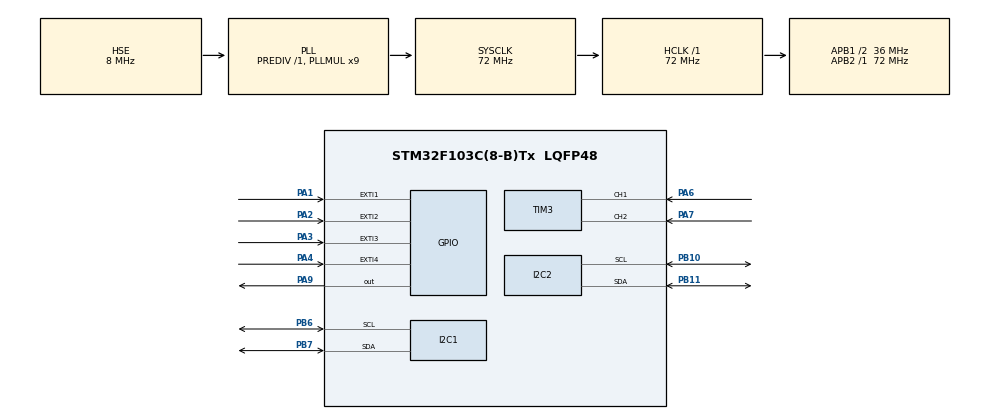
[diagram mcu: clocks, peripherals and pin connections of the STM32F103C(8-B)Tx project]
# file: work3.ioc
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FREERTOS.Events01=ConsoleEvent,Dynamic,NULL;OperateEvent,Dynamic,NULL
FREERTOS.INCLUDE_xEventGroupSetBitFromISR=1
FREERTOS.Tasks01=ConsoleTask,32,128,StartConsoleTask,Default,NULL,Dynamic,NULL,NULL;SinTask,24,256,StartSinTask,Default,NULL,Dynamic,NULL,NULL;MenuTask,24,128,StartMenuTask,Default,NULL,Dynamic,NULL,NULL;SquareTask,24,256,StartSquareTask,Default,NULL,Dynamic,NULL,NULL;RampTask,24,256,StartRampTask,Default,NULL,Dynamic,NULL,NULL;TriangleTask,24,256,StartTriangleTask,Default,NULL,Dynamic,NULL,NULL;TrapezoidTask,24,256,StartTrapezoidTask,Default,NULL,Dynamic,NULL,NULL
FREERTOS.Timers01=KonbTimer,KonbCallback,osTimerPeriodic,Default,NULL,Dynamic,NULL
FREERTOS.configLIBRARY_MAX_SYSCALL_INTERRUPT_PRIORITY=4
FREERTOS.configTOTAL_HEAP_SIZE=10240
FREERTOS.configUSE_TASK_NOTIFICATIONS=1
I2C1.I2C_Mode=I2C_Fast
I2C2.I2C_Mode=I2C_Fast
Mcu.Family=STM32F1
Mcu.Name=STM32F103C(8-B)Tx
Mcu.Package=LQFP48
NVIC.EXTI1_IRQn=true\:6\:0\:true\:false\:true\:true\:true\:true\:true
NVIC.EXTI2_IRQn=true\:6\:0\:true\:false\:true\:true\:true\:true\:true
NVIC.EXTI3_IRQn=true\:6\:0\:true\:false\:true\:true\:true\:true\:true
NVIC.EXTI4_IRQn=true\:6\:0\:true\:false\:true\:true\:true\:true\:true
NVIC.PriorityGroup=NVIC_PRIORITYGROUP_4
NVIC.TIM1_UP_IRQn=true\:4\:0\:true\:false\:true\:true\:true\:true\:true
NVIC.TIM4_IRQn=true\:15\:0\:false\:false\:true\:false\:false\:true\:true
NVIC.TimeBase=TIM4_IRQn
NVIC.TimeBaseIP=TIM4
PA1.GPIO_ModeDefaultEXTI=GPIO_MODE_IT_RISING
PA1.GPIO_PuPd=GPIO_PULLDOWN
PA1.Signal=GPXTI1
PA13.Mode=Serial_Wire
PA13.Signal=SYS_JTMS-SWDIO
PA14.Mode=Serial_Wire
PA14.Signal=SYS_JTCK-SWCLK
PA2.GPIO_ModeDefaultEXTI=GPIO_MODE_IT_RISING
PA2.GPIO_PuPd=GPIO_PULLDOWN
PA2.Signal=GPXTI2
PA3.GPIO_ModeDefaultEXTI=GPIO_MODE_IT_RISING
PA3.GPIO_PuPd=GPIO_PULLDOWN
PA3.Signal=GPXTI3
PA4.GPIO_ModeDefaultEXTI=GPIO_MODE_IT_RISING
PA4.GPIO_PuPd=GPIO_PULLDOWN
PA4.Signal=GPXTI4
PA6.Signal=S_TIM3_CH1
PA7.Signal=S_TIM3_CH2
PA9.Signal=GPIO_Output
PB10.Mode=I2C
PB10.Signal=I2C2_SCL
PB11.Mode=I2C
PB11.Signal=I2C2_SDA
PB6.Mode=I2C
PB6.Signal=I2C1_SCL
PB7.Mode=I2C
PB7.Signal=I2C1_SDA
PD0-OSC_IN.Mode=HSE-External-Oscillator
PD0-OSC_IN.Signal=RCC_OSC_IN
PD1-OSC_OUT.Mode=HSE-External-Oscillator
PD1-OSC_OUT.Signal=RCC_OSC_OUT
ProjectManager.HeapSize=0x200
ProjectManager.StackSize=0x400
ProjectManager.TargetToolchain=MDK-ARM V5.32
RCC.AHBFreq_Value=72000000
RCC.APB1CLKDivider=RCC_HCLK_DIV2
RCC.APB1Freq_Value=36000000
RCC.APB1TimFreq_Value=72000000
RCC.APB2Freq_Value=72000000
RCC.APB2TimFreq_Value=72000000
RCC.HCLKFreq_Value=72000000
RCC.PLLMUL=RCC_PLL_MUL9
RCC.PLLSourceVirtual=RCC_PLLSOURCE_HSE
RCC.SYSCLKFreq_VALUE=72000000
RCC.SYSCLKSource=RCC_SYSCLKSOURCE_PLLCLK
RCC.USBFreq_Value=72000000
SH.S_TIM3_CH1.0=TIM3_CH1,Encoder_Interface
SH.S_TIM3_CH2.0=TIM3_CH2,Encoder_Interface
TIM1.Period=71
TIM1.Prescaler=999
TIM1.TIM_MasterOutputTrigger=TIM_TRGO_RESET
TIM3.EncoderMode=TIM_ENCODERMODE_TI12
VP_FREERTOS_VS_CMSIS_V2.Mode=CMSIS_V2
VP_SYS_VS_tim4.Mode=TIM4
VP_TIM1_VS_ClockSourceINT.Mode=Internal
board=custom

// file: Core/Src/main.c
/* USER CODE BEGIN Header */
/**
  ******************************************************************************
  * @file           : main.c
  * @brief          : Main program body
  ******************************************************************************
  * @attention
  *
  * Copyright (c) 2023 STMicroelectronics.
  * All rights reserved.
  *
  * This software is licensed under terms that can be found in the LICENSE file
  * in the root directory of this software component.
  * If no LICENSE file comes with this software, it is provided AS-IS.
  *
  ******************************************************************************
  */
/* USER CODE END Header */
#include "main.h"
#include "cmsis_os.h"
#include "i2c.h"
#include "tim.h"
#include "gpio.h"

/* USER CODE BEGIN Includes */
#include "dac.h"
/* USER CODE END Includes */

/* USER CODE BEGIN PV */
DAC_TypeDef hdac1;
uint16_t wave_table[100];
/* USER CODE END PV */

void SystemClock_Config(void);
void MX_FREERTOS_Init(void);

int main(void)
{

  /* MCU Configuration--------------------------------------------------------*/

  /* Reset of all peripherals, Initializes the Flash interface and the Systick. */
  HAL_Init();

  /* Configure the system clock */
  SystemClock_Config();

  /* Initialize all configured peripherals */
  MX_GPIO_Init();
  MX_I2C1_Init();
  MX_I2C2_Init();
  MX_TIM1_Init();
  MX_TIM3_Init();

  /* Init scheduler */
  osKernelInitialize();  /* Call init function for freertos objects (in freertos.c) */
  MX_FREERTOS_Init();

  /* Start scheduler */
  osKernelStart();

  /* We should never get here as control is now taken by the scheduler */
  /* Infinite loop */
  /* USER CODE BEGIN WHILE */
  // HAL_TIM_Base_Start_IT(&htim1);
  while (1)
  {
    /* USER CODE END WHILE */

  }
}

void SystemClock_Config(void)
{
  RCC_OscInitTypeDef RCC_OscInitStruct = {0};
  RCC_ClkInitTypeDef RCC_ClkInitStruct = {0};

  /** Initializes the RCC Oscillators according to the specified parameters
  * in the RCC_OscInitTypeDef structure.
  */
  RCC_OscInitStruct.OscillatorType = RCC_OSCILLATORTYPE_HSE;
  RCC_OscInitStruct.HSEState = RCC_HSE_ON;
  RCC_OscInitStruct.HSEPredivValue = RCC_HSE_PREDIV_DIV1;
  RCC_OscInitStruct.HSIState = RCC_HSI_ON;
  RCC_OscInitStruct.PLL.PLLState = RCC_PLL_ON;
  RCC_OscInitStruct.PLL.PLLSource = RCC_PLLSOURCE_HSE;
  RCC_OscInitStruct.PLL.PLLMUL = RCC_PLL_MUL9;
  if (HAL_RCC_OscConfig(&RCC_OscInitStruct) != HAL_OK)
  {
    Error_Handler();
  }

  /** Initializes the CPU, AHB and APB buses clocks
  */
  RCC_ClkInitStruct.ClockType = RCC_CLOCKTYPE_HCLK|RCC_CLOCKTYPE_SYSCLK
                              |RCC_CLOCKTYPE_PCLK1|RCC_CLOCKTYPE_PCLK2;
  RCC_ClkInitStruct.SYSCLKSource = RCC_SYSCLKSOURCE_PLLCLK;
  RCC_ClkInitStruct.AHBCLKDivider = RCC_SYSCLK_DIV1;
  RCC_ClkInitStruct.APB1CLKDivider = RCC_HCLK_DIV2;
  RCC_ClkInitStruct.APB2CLKDivider = RCC_HCLK_DIV1;

  if (HAL_RCC_ClockConfig(&RCC_ClkInitStruct, FLASH_LATENCY_2) != HAL_OK)
  {
    Error_Handler();
  }
}

void HAL_TIM_PeriodElapsedCallback(TIM_HandleTypeDef *htim)
{
  /* USER CODE BEGIN Callback 0 */

    if(htim->Instance == (&DAC_Fre)->Instance)
    {

        DAC_Alter_DR(&hdac1,*(wave_table+hdac1.counter));
        hdac1.counter=(hdac1.counter+1)%100;
        DAC_WriteCmd(&hdac1);

        //HAL_GPIO_TogglePin(GPIOA,GPIO_PIN_9);//测试引脚
    }
  /* USER CODE END Callback 0 */
  if (htim->Instance == TIM4) {
    HAL_IncTick();
  }
}

void Error_Handler(void)
{
  __disable_irq();
  while (1)
  {
  }
}

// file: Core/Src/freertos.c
/* USER CODE BEGIN Header */
/**
  ******************************************************************************
  * File Name          : freertos.c
  * Description        : Code for freertos applications
  ******************************************************************************
  * @attention
  *
  * Copyright (c) 2023 STMicroelectronics.
  * All rights reserved.
  *
  * This software is licensed under terms that can be found in the LICENSE file
  * in the root directory of this software component.
  * If no LICENSE file comes with this software, it is provided AS-IS.
  *
  ******************************************************************************
  */
/* USER CODE END Header */

#include "FreeRTOS.h"
#include "task.h"
#include "main.h"
#include "cmsis_os.h"

/* USER CODE BEGIN Includes */
#include "singal.h"
#include "oled.h"
#include "ui.h"
#include "wave.h"
#include "dac.h"
#include "knob.h"
/* USER CODE END Includes */

/* USER CODE BEGIN Variables */

extern DAC_TypeDef hdac1;
extern uint16_t wave_table[100];
KNOB_TypeDef knob1;

__IO uint8_t ui_jump=1;
__IO uint8_t menu_pointer=1; //传递菜单当前选项
__IO uint32_t now_ui_pointer=0x00000002U;//初始为菜单

float ori_table[100];

/* USER CODE END Variables */
/* Definitions for ConsoleTask */
osThreadId_t ConsoleTaskHandle;
const osThreadAttr_t ConsoleTask_attributes = {
  .name = "ConsoleTask",
  .stack_size = 128 * 4,
  .priority = (osPriority_t) osPriorityAboveNormal,
};
/* Definitions for SinTask */
osThreadId_t SinTaskHandle;
const osThreadAttr_t SinTask_attributes = {
  .name = "SinTask",
  .stack_size = 256 * 4,
  .priority = (osPriority_t) osPriorityNormal,
};
/* Definitions for MenuTask */
osThreadId_t MenuTaskHandle;
const osThreadAttr_t MenuTask_attributes = {
  .name = "MenuTask",
  .stack_size = 128 * 4,
  .priority = (osPriority_t) osPriorityNormal,
};
/* Definitions for SquareTask */
osThreadId_t SquareTaskHandle;
const osThreadAttr_t SquareTask_attributes = {
  .name = "SquareTask",
  .stack_size = 256 * 4,
  .priority = (osPriority_t) osPriorityNormal,
};
/* Definitions for RampTask */
osThreadId_t RampTaskHandle;
const osThreadAttr_t RampTask_attributes = {
  .name = "RampTask",
  .stack_size = 256 * 4,
  .priority = (osPriority_t) osPriorityNormal,
};
/* Definitions for TriangleTask */
osThreadId_t TriangleTaskHandle;
const osThreadAttr_t TriangleTask_attributes = {
  .name = "TriangleTask",
  .stack_size = 256 * 4,
  .priority = (osPriority_t) osPriorityNormal,
};
/* Definitions for TrapezoidTask */
osThreadId_t TrapezoidTaskHandle;
const osThreadAttr_t TrapezoidTask_attributes = {
  .name = "TrapezoidTask",
  .stack_size = 256 * 4,
  .priority = (osPriority_t) osPriorityNormal,
};
/* Definitions for KonbTimer */
osTimerId_t KonbTimerHandle;
const osTimerAttr_t KonbTimer_attributes = {
  .name = "KonbTimer"
};
/* Definitions for ConsoleEvent */
osEventFlagsId_t ConsoleEventHandle;
const osEventFlagsAttr_t ConsoleEvent_attributes = {
  .name = "ConsoleEvent"
};
/* Definitions for OperateEvent */
osEventFlagsId_t OperateEventHandle;
const osEventFlagsAttr_t OperateEvent_attributes = {
  .name = "OperateEvent"
};

void StartConsoleTask(void *argument);
void StartSinTask(void *argument);
void StartMenuTask(void *argument);
void StartSquareTask(void *argument);
void StartRampTask(void *argument);
void StartTriangleTask(void *argument);
void StartTrapezoidTask(void *argument);
void KonbCallback(void *argument);

void MX_FREERTOS_Init(void); /* (MISRA C 2004 rule 8.1) */

void MX_FREERTOS_Init(void) {
  /* USER CODE BEGIN Init */
    OLED_Init();
    DAC_Init(&hdac1);
    Knob_Init(&knob1);

  /* USER CODE END Init */

  /* Create the timer(s) */
  /* creation of KonbTimer */
  KonbTimerHandle = osTimerNew(KonbCallback, osTimerPeriodic, NULL, &KonbTimer_attributes);

  /* Create the thread(s) */
  /* creation of ConsoleTask */
  ConsoleTaskHandle = osThreadNew(StartConsoleTask, NULL, &ConsoleTask_attributes);

  /* creation of SinTask */
  SinTaskHandle = osThreadNew(StartSinTask, NULL, &SinTask_attributes);

  /* creation of MenuTask */
  MenuTaskHandle = osThreadNew(StartMenuTask, NULL, &MenuTask_attributes);

  /* creation of SquareTask */
  SquareTaskHandle = osThreadNew(StartSquareTask, NULL, &SquareTask_attributes);

  /* creation of RampTask */
  RampTaskHandle = osThreadNew(StartRampTask, NULL, &RampTask_attributes);

  /* creation of TriangleTask */
  TriangleTaskHandle = osThreadNew(StartTriangleTask, NULL, &TriangleTask_attributes);

  /* creation of TrapezoidTask */
  TrapezoidTaskHandle = osThreadNew(StartTrapezoidTask, NULL, &TrapezoidTask_attributes);

  /* Create the event(s) */
  /* creation of ConsoleEvent */
  ConsoleEventHandle = osEventFlagsNew(&ConsoleEvent_attributes);

  /* creation of OperateEvent */
  OperateEventHandle = osEventFlagsNew(&OperateEvent_attributes);

}

void StartConsoleTask(void *argument)
{
  /* USER CODE BEGIN StartConsoleTask */
    uint32_t operate_flag;
    uint8_t now_interface;

  /* Infinite loop */
  for(;;)
  {
      osEventFlagsWait(ConsoleEventHandle, 0x00000001U, osFlagsWaitAny, osWaitForever);
      osDelay(10);
      //键盘情况判断
      if(1==HAL_GPIO_ReadPin(GPIOA,GPIO_PIN_1))
      {osEventFlagsSet(OperateEventHandle,0x00000004U);}
      else if(1==HAL_GPIO_ReadPin(GPIOA,GPIO_PIN_2))
      {osEventFlagsSet(OperateEventHandle,0x00000002U);}
      else if(1==HAL_GPIO_ReadPin(GPIOA,GPIO_PIN_3))
      {osEventFlagsSet(OperateEventHandle,0x00000001U);}
      else if(1==HAL_GPIO_ReadPin(GPIOA,GPIO_PIN_4))
      {osEventFlagsSet(OperateEventHandle,0x00000008U);}
      else{}

       //任务事件标志生成
      operate_flag=osEventFlagsGet(OperateEventHandle);
      if(0x00000002U == now_ui_pointer)
      {
          now_interface=0;
      }
      else
      {
          now_interface=1;
      }
      switch(now_interface)
      {
          case 0:
              if(operate_flag == 1 || operate_flag == 4)
              {
                  //当前页跳转
                  osEventFlagsSet(ConsoleEventHandle,now_ui_pointer);
                 ui_jump=0;
              }
              else if(operate_flag == 2)
              {
                  switch(menu_pointer)
                  {
                      case 1:
                        osEventFlagsSet(ConsoleEventHandle,0x00000004U);//sin
                      break;
                      case 2:
                        osEventFlagsSet(ConsoleEventHandle,0x00000008U);//square
                      break;
                      case 3:
                        osEventFlagsSet(ConsoleEventHandle,0x00000010U);//ramp
                      break;
                      case 4:
                        osEventFlagsSet(ConsoleEventHandle,0x00000020U);//triangle
                      break;
                      case 5:
                        osEventFlagsSet(ConsoleEventHandle,0x00000040U);//trapezoid
                      break;
                  }
                  ui_jump=1;
                  osEventFlagsClear(OperateEventHandle,0x00000002U);
              }
              else{osEventFlagsClear(OperateEventHandle,0x00000008U);}
              break;
          case 1:
              if(operate_flag == 8)
              {
                  osEventFlagsSet(ConsoleEventHandle,0x00000002U);
                  ui_jump=1;
                  osEventFlagsClear(OperateEventHandle,0x00000008U);
              }
              else
              {
                //当前页跳转
                  osEventFlagsSet(ConsoleEventHandle,now_ui_pointer);
                  ui_jump=0;
              }
          break;
      }

  }
  /* USER CODE END StartConsoleTask */
}

void StartSinTask(void *argument)
{
  /* USER CODE BEGIN StartSinTask */
    //初始化
    SIN_DefType sin1;
    Sin_Init(&sin1);

  /* Infinite loop */
  for(;;)
  {

      //等待事件产生
    now_ui_pointer = osEventFlagsWait(ConsoleEventHandle, 0x00000004U, osFlagsWaitAny, osWaitForever);
    //显示整个界面
    if(ui_jump == 1 && osEventFlagsGet(OperateEventHandle) != 0x00000010U)
    {
        OLED_Clear();
        OLED_ShowString(1,1,sin1.name);
        //参数显示
        for(uint8_t i=0;i<3;i++)
        {
            Ui_Display(i+2,&sin1.parameter[sin1.show_pointer[i]] ,0);
        }
        Ui_Display(2,&sin1.parameter[sin1.show_pointer[0]],1);
    }

    //当前选项的变化
    if( osEventFlagsGet(OperateEventHandle) == 0x00000001U )
    {

        osEventFlagsClear(OperateEventHandle,0x00000001U);

        sin1.show_pointer[0]=(sin1.show_pointer[0]+1) % sin1.para_number;
        sin1.show_pointer[1]=(sin1.show_pointer[1]+1) % sin1.para_number;
        sin1.show_pointer[2]=(sin1.show_pointer[2]+1) % sin1.para_number;
        OLED_Clear();
        OLED_ShowString(1,1,sin1.name);
        Ui_Display(2,&sin1.parameter[sin1.show_pointer[0]],1);
        Ui_Display(3,&sin1.parameter[sin1.show_pointer[1]],0);
        Ui_Display(4,&sin1.parameter[sin1.show_pointer[2]],0);

    }
    else if(osEventFlagsGet(OperateEventHandle) == 0x00000004U)
    {
        osEventFlagsClear(OperateEventHandle,0x00000004U);
        for (uint8_t i=0;i<3;i++)
        {
            if(sin1.show_pointer[i]==0)
            {sin1.show_pointer[i]=(sin1.show_pointer[i]-1+sin1.para_number);}
            else {sin1.show_pointer[i]=(sin1.show_pointer[i]-1) ;}
        }
        OLED_Clear();
        OLED_ShowString(1,1,sin1.name);
        Ui_Display(2,&sin1.parameter[sin1.show_pointer[0]],1);
        Ui_Display(3,&sin1.parameter[sin1.show_pointer[1]],0);
        Ui_Display(4,&sin1.parameter[sin1.show_pointer[2]],0);

    }
    //参数数值发生改变
    if(osEventFlagsGet(OperateEventHandle) == 0x00000010U)
    {
        osEventFlagsClear(OperateEventHandle,0x00000010U);
        Alter_Para(&sin1.parameter[sin1.show_pointer[0]],knob1.vary,knob1.dr);

        Ui_Display(2,&sin1.parameter[sin1.show_pointer[0]],1);
    }
    if(osEventFlagsGet(OperateEventHandle) == 0x00000002U)//是否生成波形
    {
       osEventFlagsClear(OperateEventHandle,0x00000002U);
       generate_Sin_Twave(ori_table);
       generate_Dwave(sin1.parameter[1].value,sin1.parameter[2].value,wave_table,ori_table);
       OLED_Reverse_ShowString(1,1,sin1.name);
       DAC_Start(&hdac1,sin1.parameter[0].value);

    }

  }
  /* USER CODE END StartSinTask */
}

void StartMenuTask(void *argument)
{
  /* USER CODE BEGIN StartMenuTask */

   //初始化
    MENU_DefType menu1;
    Menu_Init (&menu1);
    Knob_Start();
    osTimerStart(KonbTimerHandle,20);
    osEventFlagsSet(ConsoleEventHandle, 0x00000002U);
  /* Infinite loop */
  for(;;)
  {
      //等待事件产生
    now_ui_pointer = osEventFlagsWait(ConsoleEventHandle, 0x00000002U, osFlagsWaitAny, osWaitForever);
    //显示整个界面
    if(ui_jump == 1 && osEventFlagsGet(OperateEventHandle) != 0x00000010U)
    {
        OLED_Clear();
        OLED_ShowString(1,1,menu1.name);
        //参数显示
        OLED_Reverse_ShowString(2,1,menu1.function[menu1.show_pointer[0]].name);
        OLED_ShowString(3,1,menu1.function[menu1.show_pointer[1]].name);
        OLED_ShowString(4,1,menu1.function[menu1.show_pointer[2]].name);

        DAC_Stop(&hdac1);
    }

    //当前选项的变化
    if( osEventFlagsGet(OperateEventHandle) == 0x00000001U )
    {
        OLED_Clear();
        OLED_ShowString(1,1,menu1.name);
        menu1.show_pointer[0]=(menu1.show_pointer[0]+1) % menu1.func_number;
        menu1.show_pointer[1]=(menu1.show_pointer[1]+1) % menu1.func_number;
        menu1.show_pointer[2]=(menu1.show_pointer[2]+1) % menu1.func_number;
        OLED_Reverse_ShowString(2,1,menu1.function[menu1.show_pointer[0]].name);
        OLED_ShowString(3,1,menu1.function[menu1.show_pointer[1]].name);
        OLED_ShowString(4,1,menu1.function[menu1.show_pointer[2]].name);
        osEventFlagsClear(OperateEventHandle,0x00000001U);
    }
    else if(osEventFlagsGet(OperateEventHandle) == 0x00000004U)
    {
        for (uint8_t i=0;i<3;i++)
        {
            if(menu1.show_pointer[i]==0)
            {menu1.show_pointer[i]=(menu1.show_pointer[i]-1+menu1.func_number);}
            else {menu1.show_pointer[i]=(menu1.show_pointer[i]-1) ;}
        }
        OLED_Clear();
        OLED_ShowString(1,1,menu1.name);
        OLED_Reverse_ShowString(2,1,menu1.function[menu1.show_pointer[0]].name);
        OLED_ShowString(3,1,menu1.function[menu1.show_pointer[1]].name);
        OLED_ShowString(4,1,menu1.function[menu1.show_pointer[2]].name);
        osEventFlagsClear(OperateEventHandle,0x00000004U);
    }
    menu_pointer=menu1.show_pointer[0]+1;

  }
  /* USER CODE END StartMenuTask */
}

void StartSquareTask(void *argument)
{
  /* USER CODE BEGIN StartSquareTask */

    //初始化
    SQUARE_DefType sin1;
    SQUARE_Init(&sin1);

  /* Infinite loop */
  for(;;)
  {

      //等待事件产生
    now_ui_pointer = osEventFlagsWait(ConsoleEventHandle, 0x00000008U, osFlagsWaitAny, osWaitForever);
    //显示整个界面
    if(ui_jump == 1 && osEventFlagsGet(OperateEventHandle) != 0x00000010U)
    {
        OLED_Clear();
        OLED_ShowString(1,1,sin1.name);
        //参数显示
        for(uint8_t i=0;i<3;i++)
        {
            Ui_Display(i+2,&sin1.parameter[sin1.show_pointer[i]] ,0);
        }
        Ui_Display(2,&sin1.parameter[sin1.show_pointer[0]],1);
    }

    //当前选项的变化
    if( osEventFlagsGet(OperateEventHandle) == 0x00000001U )
    {

        osEventFlagsClear(OperateEventHandle,0x00000001U);

        sin1.show_pointer[0]=(sin1.show_pointer[0]+1) % sin1.para_number;
        sin1.show_pointer[1]=(sin1.show_pointer[1]+1) % sin1.para_number;
        sin1.show_pointer[2]=(sin1.show_pointer[2]+1) % sin1.para_number;
        OLED_Clear();
        OLED_ShowString(1,1,sin1.name);
        Ui_Display(2,&sin1.parameter[sin1.show_pointer[0]],1);
        Ui_Display(3,&sin1.parameter[sin1.show_pointer[1]],0);
        Ui_Display(4,&sin1.parameter[sin1.show_pointer[2]],0);

    }
    else if(osEventFlagsGet(OperateEventHandle) == 0x00000004U)
    {
        osEventFlagsClear(OperateEventHandle,0x00000004U);
        for (uint8_t i=0;i<3;i++)
        {
            if(sin1.show_pointer[i]==0)
            {sin1.show_pointer[i]=(sin1.show_pointer[i]-1+sin1.para_number);}
            else {sin1.show_pointer[i]=(sin1.show_pointer[i]-1) ;}
        }
        OLED_Clear();
        OLED_ShowString(1,1,sin1.name);
        Ui_Display(2,&sin1.parameter[sin1.show_pointer[0]],1);
        Ui_Display(3,&sin1.parameter[sin1.show_pointer[1]],0);
        Ui_Display(4,&sin1.parameter[sin1.show_pointer[2]],0);

    }
    //参数数值发生改变
    if(osEventFlagsGet(OperateEventHandle) == 0x00000010U)
    {
        osEventFlagsClear(OperateEventHandle,0x00000010U);
        Alter_Para(&sin1.parameter[sin1.show_pointer[0]],knob1.vary,knob1.dr);
        Ui_Display(2,&sin1.parameter[sin1.show_pointer[0]],1);
    }
    if(osEventFlagsGet(OperateEventHandle) == 0x00000002U)//是否生成波形-----------------------
    {
       osEventFlagsClear(OperateEventHandle,0x00000002U);
       uint16_t plat=sin1.parameter[3].value-1;
       uint16_t ori=100-plat-1;
       generate_Twave(ori,1,plat,1,100,ori_table);
       generate_Dwave(sin1.parameter[1].value,sin1.parameter[2].value,wave_table,ori_table);
       OLED_Reverse_ShowString(1,1,sin1.name);
       DAC_Start(&hdac1,sin1.parameter[0].value);

    }

  }

  /* USER CODE END StartSquareTask */
}

void StartRampTask(void *argument)
{
  /* USER CODE BEGIN StartRampTask */

//初始化
    RAMP_DefType sin1;
    RAMP_Init(&sin1);

  /* Infinite loop */
  for(;;)
  {

      //等待事件产生
    now_ui_pointer = osEventFlagsWait(ConsoleEventHandle, 0x00000010U, osFlagsWaitAny, osWaitForever);
    //显示整个界面
    if(ui_jump == 1 && osEventFlagsGet(OperateEventHandle) != 0x00000010U)
    {
        OLED_Clear();
        OLED_ShowString(1,1,sin1.name);
        //参数显示
        for(uint8_t i=0;i<3;i++)
        {
            Ui_Display(i+2,&sin1.parameter[sin1.show_pointer[i]] ,0);
        }
        Ui_Display(2,&sin1.parameter[sin1.show_pointer[0]],1);
    }

    //当前选项的变化
    if( osEventFlagsGet(OperateEventHandle) == 0x00000001U )
    {

        osEventFlagsClear(OperateEventHandle,0x00000001U);

        sin1.show_pointer[0]=(sin1.show_pointer[0]+1) % sin1.para_number;
        sin1.show_pointer[1]=(sin1.show_pointer[1]+1) % sin1.para_number;
        sin1.show_pointer[2]=(sin1.show_pointer[2]+1) % sin1.para_number;
        OLED_Clear();
        OLED_ShowString(1,1,sin1.name);
        Ui_Display(2,&sin1.parameter[sin1.show_pointer[0]],1);
        Ui_Display(3,&sin1.parameter[sin1.show_pointer[1]],0);
        Ui_Display(4,&sin1.parameter[sin1.show_pointer[2]],0);

    }
    else if(osEventFlagsGet(OperateEventHandle) == 0x00000004U)
    {
        osEventFlagsClear(OperateEventHandle,0x00000004U);
        for (uint8_t i=0;i<3;i++)
        {
            if(sin1.show_pointer[i]==0)
            {sin1.show_pointer[i]=(sin1.show_pointer[i]-1+sin1.para_number);}
            else {sin1.show_pointer[i]=(sin1.show_pointer[i]-1) ;}
        }
        OLED_Clear();
        OLED_ShowString(1,1,sin1.name);
        Ui_Display(2,&sin1.parameter[sin1.show_pointer[0]],1);
        Ui_Display(3,&sin1.parameter[sin1.show_pointer[1]],0);
        Ui_Display(4,&sin1.parameter[sin1.show_pointer[2]],0);

    }
    //参数数值发生改变
    if(osEventFlagsGet(OperateEventHandle) == 0x00000010U)
    {
        osEventFlagsClear(OperateEventHandle,0x00000010U);
        Alter_Para(&sin1.parameter[sin1.show_pointer[0]],knob1.vary,knob1.dr);
        Ui_Display(2,&sin1.parameter[sin1.show_pointer[0]],1);
    }
    if(osEventFlagsGet(OperateEventHandle) == 0x00000002U)//是否生成波形-----------------------
    {
       osEventFlagsClear(OperateEventHandle,0x00000002U);
       uint16_t up=sin1.parameter[3].value;
       uint16_t ori=100-up-1;
       generate_Twave(ori,up,0,1,100,ori_table);

       generate_Dwave(sin1.parameter[1].value,sin1.parameter[2].value,wave_table,ori_table);
       OLED_Reverse_ShowString(1,1,sin1.name);
       DAC_Start(&hdac1,sin1.parameter[0].value);

    }

  }

  /* USER CODE END StartRampTask */
}

void StartTriangleTask(void *argument)
{
  /* USER CODE BEGIN StartTriangleTask */

//初始化
    TRI_DefType sin1;
    TRI_Init(&sin1);

  /* Infinite loop */
  for(;;)
  {

      //等待事件产生
    now_ui_pointer = osEventFlagsWait(ConsoleEventHandle, 0x00000020U, osFlagsWaitAny, osWaitForever);
    //显示整个界面
    if(ui_jump == 1 && osEventFlagsGet(OperateEventHandle) != 0x00000010U)
    {
        OLED_Clear();
        OLED_ShowString(1,1,sin1.name);
        //参数显示
        for(uint8_t i=0;i<3;i++)
        {
            Ui_Display(i+2,&sin1.parameter[sin1.show_pointer[i]] ,0);
        }
        Ui_Display(2,&sin1.parameter[sin1.show_pointer[0]],1);
    }

    //当前选项的变化
    if( osEventFlagsGet(OperateEventHandle) == 0x00000001U )
    {

        osEventFlagsClear(OperateEventHandle,0x00000001U);

        sin1.show_pointer[0]=(sin1.show_pointer[0]+1) % sin1.para_number;
        sin1.show_pointer[1]=(sin1.show_pointer[1]+1) % sin1.para_number;
        sin1.show_pointer[2]=(sin1.show_pointer[2]+1) % sin1.para_number;
        OLED_Clear();
        OLED_ShowString(1,1,sin1.name);
        Ui_Display(2,&sin1.parameter[sin1.show_pointer[0]],1);
        Ui_Display(3,&sin1.parameter[sin1.show_pointer[1]],0);
        Ui_Display(4,&sin1.parameter[sin1.show_pointer[2]],0);

    }
    else if(osEventFlagsGet(OperateEventHandle) == 0x00000004U)
    {
        osEventFlagsClear(OperateEventHandle,0x00000004U);
        for (uint8_t i=0;i<3;i++)
        {
            if(sin1.show_pointer[i]==0)
            {sin1.show_pointer[i]=(sin1.show_pointer[i]-1+sin1.para_number);}
            else {sin1.show_pointer[i]=(sin1.show_pointer[i]-1) ;}
        }
        OLED_Clear();
        OLED_ShowString(1,1,sin1.name);
        Ui_Display(2,&sin1.parameter[sin1.show_pointer[0]],1);
        Ui_Display(3,&sin1.parameter[sin1.show_pointer[1]],0);
        Ui_Display(4,&sin1.parameter[sin1.show_pointer[2]],0);

    }
    //参数数值发生改变
    if(osEventFlagsGet(OperateEventHandle) == 0x00000010U)
    {
        osEventFlagsClear(OperateEventHandle,0x00000010U);
        Alter_Para(&sin1.parameter[sin1.show_pointer[0]],knob1.vary,knob1.dr);
        Ui_Display(2,&sin1.parameter[sin1.show_pointer[0]],1);
    }
    if(osEventFlagsGet(OperateEventHandle) == 0x00000002U)//是否生成波形-----------------------
    {
       osEventFlagsClear(OperateEventHandle,0x00000002U);
       uint16_t up=sin1.parameter[3].value;
       uint16_t down=sin1.parameter[4].value;
       uint16_t ori=100-up-down;
       generate_Twave(ori,up,0,down,100,ori_table);

       generate_Dwave(sin1.parameter[1].value,sin1.parameter[2].value,wave_table,ori_table);
       OLED_Reverse_ShowString(1,1,sin1.name);
       DAC_Start(&hdac1,sin1.parameter[0].value);

    }

  }

  /* USER CODE END StartTriangleTask */
}

void StartTrapezoidTask(void *argument)
{
  /* USER CODE BEGIN StartTrapezoidTask */

//初始化
    TRA_DefType sin1;
    TRA_Init(&sin1);

  /* Infinite loop */
  for(;;)
  {

      //等待事件产生
    now_ui_pointer = osEventFlagsWait(ConsoleEventHandle, 0x00000040U, osFlagsWaitAny, osWaitForever);
    //显示整个界面
    if(ui_jump == 1 && osEventFlagsGet(OperateEventHandle) != 0x00000010U)
    {
        OLED_Clear();
        OLED_ShowString(1,1,sin1.name);
        //参数显示
        for(uint8_t i=0;i<3;i++)
        {
            Ui_Display(i+2,&sin1.parameter[sin1.show_pointer[i]] ,0);
        }
        Ui_Display(2,&sin1.parameter[sin1.show_pointer[0]],1);
    }

    //当前选项的变化
    if( osEventFlagsGet(OperateEventHandle) == 0x00000001U )
    {

        osEventFlagsClear(OperateEventHandle,0x00000001U);

        sin1.show_pointer[0]=(sin1.show_pointer[0]+1) % sin1.para_number;
        sin1.show_pointer[1]=(sin1.show_pointer[1]+1) % sin1.para_number;
        sin1.show_pointer[2]=(sin1.show_pointer[2]+1) % sin1.para_number;
        OLED_Clear();
        OLED_ShowString(1,1,sin1.name);
        Ui_Display(2,&sin1.parameter[sin1.show_pointer[0]],1);
        Ui_Display(3,&sin1.parameter[sin1.show_pointer[1]],0);
        Ui_Display(4,&sin1.parameter[sin1.show_pointer[2]],0);

    }
    else if(osEventFlagsGet(OperateEventHandle) == 0x00000004U)
    {
        osEventFlagsClear(OperateEventHandle,0x00000004U);
        for (uint8_t i=0;i<3;i++)
        {
            if(sin1.show_pointer[i]==0)
            {sin1.show_pointer[i]=(sin1.show_pointer[i]-1+sin1.para_number);}
            else {sin1.show_pointer[i]=(sin1.show_pointer[i]-1) ;}
        }
        OLED_Clear();
        OLED_ShowString(1,1,sin1.name);
        Ui_Display(2,&sin1.parameter[sin1.show_pointer[0]],1);
        Ui_Display(3,&sin1.parameter[sin1.show_pointer[1]],0);
        Ui_Display(4,&sin1.parameter[sin1.show_pointer[2]],0);

    }
    //参数数值发生改变
    if(osEventFlagsGet(OperateEventHandle) == 0x00000010U)
    {
        osEventFlagsClear(OperateEventHandle,0x00000010U);
        Alter_Para(&sin1.parameter[sin1.show_pointer[0]],knob1.vary,knob1.dr);
        Ui_Display(2,&sin1.parameter[sin1.show_pointer[0]],1);
    }
    if(osEventFlagsGet(OperateEventHandle) == 0x00000002U)//是否生成波形-----------------------
    {
       osEventFlagsClear(OperateEventHandle,0x00000002U);
       uint16_t up=sin1.parameter[3].value;
       uint16_t down=sin1.parameter[4].value;
       uint16_t plat=sin1.parameter[5].value;
       uint16_t ori=100-up-down-plat;
       generate_Twave(ori,up,plat,down,100,ori_table);

       generate_Dwave(sin1.parameter[1].value,sin1.parameter[2].value,wave_table,ori_table);
       OLED_Reverse_ShowString(1,1,sin1.name);
       DAC_Start(&hdac1,sin1.parameter[0].value);

    }

  }

  /* USER CODE END StartTrapezoidTask */
}

/* KonbCallback function */
void KonbCallback(void *argument)
{
  /* USER CODE BEGIN KonbCallback */
    Get_Knob_value(&knob1);
    if(knob1.vary != 0)
    {
        osEventFlagsSet(OperateEventHandle,0x00000010U);
        osEventFlagsSet(ConsoleEventHandle,now_ui_pointer);
    }
  /* USER CODE END KonbCallback */
}

/* USER CODE BEGIN Application */

void HAL_GPIO_EXTI_Callback(uint16_t GPIO_Pin)
{
    osEventFlagsSet(ConsoleEventHandle,0x00000001U);
}

/* USER CODE END Application */
